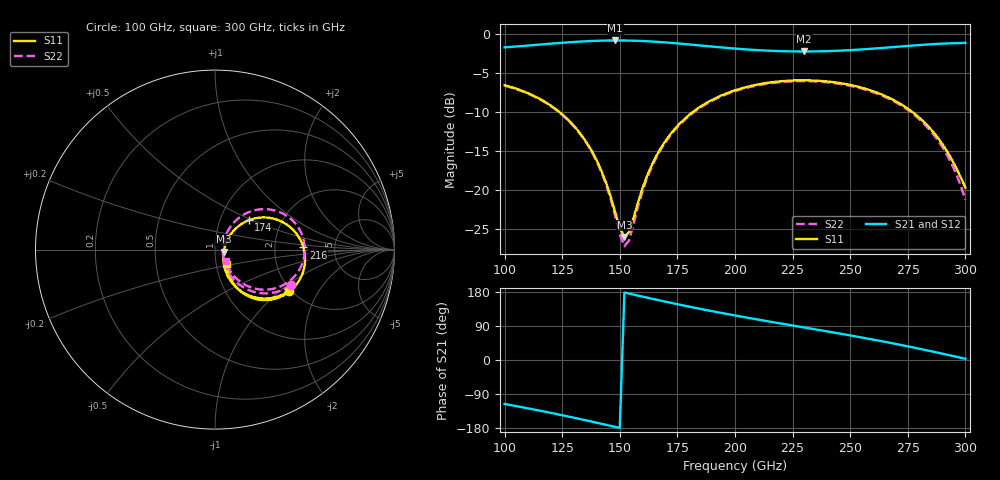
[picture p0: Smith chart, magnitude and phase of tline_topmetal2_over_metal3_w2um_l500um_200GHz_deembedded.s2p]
! Created with skrf 2.0.1 (http://scikit-rf.org).
# GHz S DB R 50.0
!freq dBS11 angS11 dBS21 angS21 dBS12 angS12 dBS22 angS22
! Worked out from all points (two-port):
!   101 points, 100 GHz to 300 GHz, reference 50 ohm
!   highest |S21| = -0.78 dB at 148 GHz (marker M1); lowest = -2.2 dB at 230 GHz (marker M2)
!   |S21| within 3 dB of the highest: start of sweep to end of sweep
!   lowest |S11| = -26.0 dB at 152 GHz (marker M3), VSWR 1.11, Z = 55.1 - j1.29 ohm
!   |S11| at or under -10 dB: 123.9 GHz to 181.6 GHz (57.75 GHz wide, 37.8 % of centre); 277.1 GHz to end of sweep
!   |S22| runs from -27.2 to -6.0 dB; largest |S21 - S12| = 9.1e-14
!   S11 on the Smith chart (normalised r, x): 100 GHz: 1.93, -1.16; 174 GHz: 1.36, +0.47; 216 GHz: 2.94, +0.09; 300 GHz: 1.13, -0.18
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100  -6.54 -29.5  -1.66 -116.1  -1.66 -116.1  -6.60 -24.7
120  -9.14 -49.8  -1.20 -139.5  -1.20 -139.5  -9.22 -44.3
134  -13.21 -62.2  -0.91 -157.5  -0.91 -157.5  -13.30 -56.7
142  -17.53 -63.8  -0.81 -168.3  -0.81 -168.3  -17.69 -58.9
148  -22.85 -50.0  -0.78 -176.5  -0.78 -176.5  -23.34 -46.4
150  -24.87 -35.8  -0.78 -179.2  -0.78 -179.2  -25.69 -32.0
152  -26.04 -13.5  -0.79 178.0  -0.79 178.0  -27.22 -7.3
154  -25.41 10.4  -0.80 175.3  -0.80 175.3  -26.50 20.2
162  -18.07 44.4  -0.89 164.4  -0.89 164.4  -18.37 55.2
168  -14.52 44.8  -1.00 156.3  -1.00 156.3  -14.70 55.2
174  -12.11 41.1  -1.14 148.5  -1.14 148.5  -12.26 51.3
186  -9.10 30.3  -1.46 133.7  -1.46 133.7  -9.22 40.6
200  -7.19 16.7  -1.83 117.5  -1.83 117.5  -7.30 27.3
216  -6.15 1.4  -2.12 100.4  -2.12 100.4  -6.26 12.4
230  -5.90 -11.6  -2.20 85.9  -2.20 85.9  -6.01 -0.3
234  -5.93 -15.3  -2.19 81.7  -2.19 81.7  -6.04 -4.0
252  -6.63 -32.1  -1.99 62.7  -1.99 62.7  -6.75 -20.6
268  -8.31 -47.0  -1.65 44.5  -1.65 44.5  -8.46 -35.9
280  -10.71 -57.1  -1.37 29.7  -1.37 29.7  -10.91 -47.0
288  -13.27 -61.4  -1.22 19.3  -1.22 19.3  -13.59 -53.0
294  -16.02 -60.6  -1.14 11.3  -1.14 11.3  -16.62 -54.6
300  -19.69 -49.5  -1.10 3.2  -1.10 3.2  -21.25 -47.0
